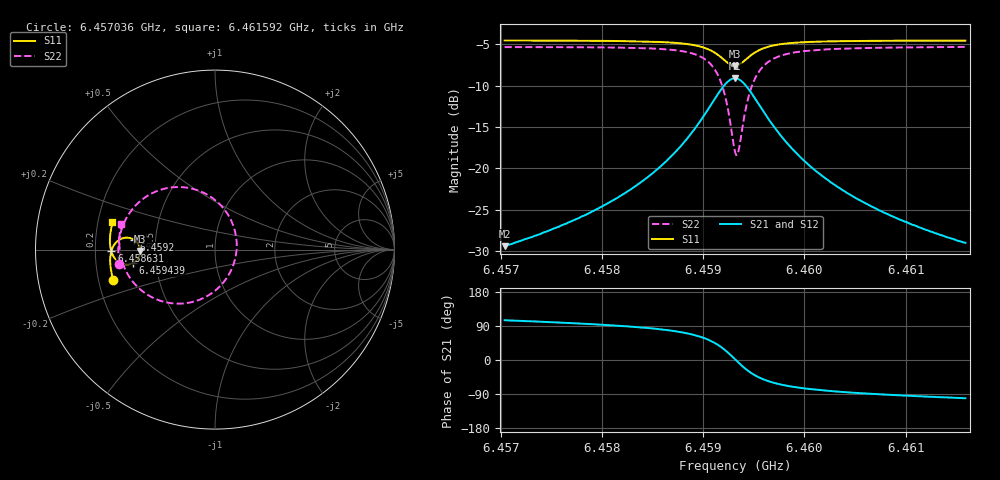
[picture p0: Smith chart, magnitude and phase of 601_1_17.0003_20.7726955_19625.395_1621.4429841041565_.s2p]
#  HZ  S  RI  R  50.00
! Rohde & Schwarz Vector Network Analyzer
! Rohde-Schwarz,ZNB20-2Port,1311601062101988,3.16
! Created: UTC 3/20/2024, 11:19:01 PM
! freq[Hz]  re:S11  im:S11  re:S21  im:S21  re:S12  im:S12  re:S22  im:S22
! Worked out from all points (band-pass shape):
!   401 points, 6.457036 GHz to 6.461592 GHz, reference 50 ohm
!   highest |S21| = -9.12 dB at 6.459314 GHz (marker M1); lowest = -29.4 dB at 6.457036 GHz (marker M2)
!   |S21| within 3 dB of the highest: 6.459087 GHz to 6.459541 GHz (454.7 kHz wide, 0.00704 % of centre)
!   lowest |S11| = -7.6 dB at 6.459314 GHz (marker M3), VSWR 2.43, Z = 20.6 - j0.41 ohm
!   |S11| at or under -10 dB: nowhere
!   |S22| runs from -18.4 to -5.3 dB; largest |S21 - S12| = 0.014
!   S11 on the Smith chart (normalised r, x): 6.457036 GHz: 0.26, -0.13; 6.458631 GHz: 0.27, -0.01; 6.4592 GHz: 0.38, +0.05; 6.459439 GHz: 0.37, -0.07; 6.461592 GHz: 0.26, +0.12
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6.4570365e9  -0.568 -0.1676  -0.00882 0.0328  -0.00697 0.0328  -0.5341 -0.0794
6.4577995e9  -0.5813 -0.1007  -0.00534 0.0511  -0.00269 0.0504  -0.5385 0.0107
6.4582322e9  -0.5839 -0.0569  0.00114 0.0714  0.00437 0.0699  -0.5292 0.0804
6.4585624e9  -0.5799 -0.0171  0.015 0.0998  0.019 0.0969  -0.5033 0.1563
6.4586308e9  -0.5774 -0.00763  0.0205 0.1081  0.0244 0.105  -0.4932 0.1763
6.4588243e9  -0.5645 0.0228  0.0475 0.1392  0.0515 0.1343  -0.4423 0.2459
6.4589724e9  -0.5415 0.0492  0.0933 0.1699  0.0966 0.1632  -0.3575 0.3104
6.459109e9  -0.4972 0.0665  0.1817 0.1863  0.1826 0.1788  -0.1959 0.3486
6.4592001e9  -0.4522 0.0557  0.2726 0.1543  0.2728 0.1484  -0.0273 0.2964
6.4592685e9  -0.4229 0.0232  0.3336 0.0812  0.3357 0.0759  0.0891 0.1644
6.459314e9  -0.416 -0.00821  0.3497 0.0122  0.3534 0.00527  0.1212 0.0351
6.4593482e9  -0.4201 -0.0323  0.3435 -0.0409  0.3475 -0.0502  0.1085 -0.0657
6.4593937e9  -0.436 -0.0586  0.3141 -0.1013  0.3165 -0.1135  0.0491 -0.1803
6.4594393e9  -0.4584 -0.075  0.2713 -0.1428  0.2704 -0.1562  -0.0378 -0.2558
6.4595304e9  -0.5023 -0.0819  0.1851 -0.1737  0.1788 -0.1853  -0.2095 -0.3012
6.4595987e9  -0.5268 -0.0744  0.1363 -0.1712  0.1281 -0.1804  -0.3041 -0.2854
6.4596784e9  -0.5466 -0.0611  0.0963 -0.1591  0.0877 -0.1653  -0.379 -0.2497
6.4598378e9  -0.5682 -0.0334  0.0512 -0.1304  0.0435 -0.1332  -0.4599 -0.1764
6.460077e9  -0.581 0.00216  0.022 -0.0984  0.016 -0.0989  -0.5079 -0.0928
6.4603958e9  -0.5853 0.0407  0.00671 -0.0727  0.00242 -0.0721  -0.5285 -0.0175
6.4608399e9  -0.5833 0.0857  -0.00169 -0.0523  -0.00455 -0.0515  -0.5331 0.0552
6.4615915e9  -0.5712 0.1524  -0.00667 -0.035  -0.00851 -0.034  -0.5214 0.1448
